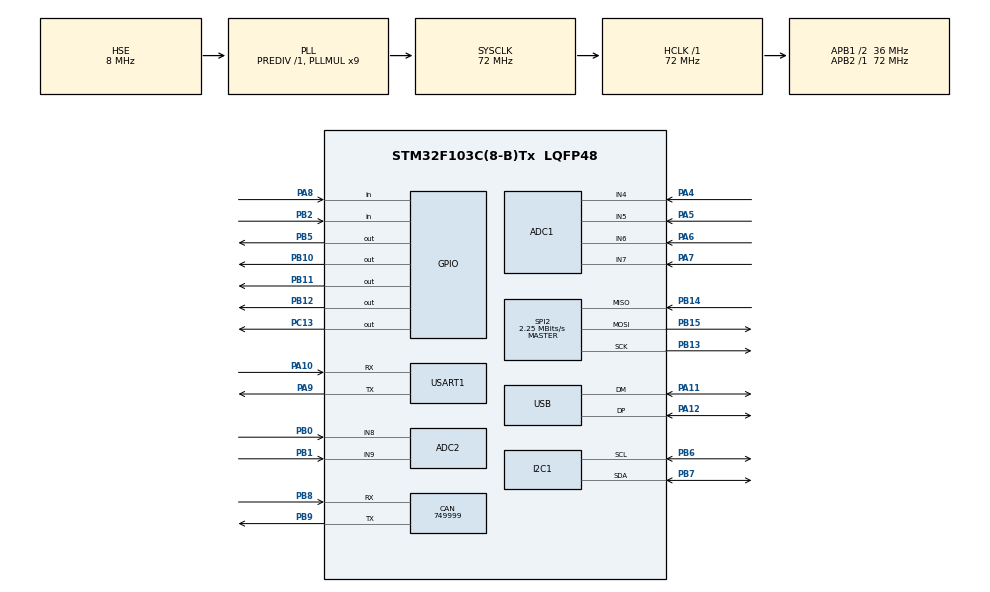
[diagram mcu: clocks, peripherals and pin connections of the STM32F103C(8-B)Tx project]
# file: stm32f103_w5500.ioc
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ADC1.Channel-0\#ChannelRegularConversion=ADC_CHANNEL_4
ADC1.NbrOfConversionFlag=1
ADC1.Rank-0\#ChannelRegularConversion=1
ADC1.SamplingTime-0\#ChannelRegularConversion=ADC_SAMPLETIME_1CYCLE_5
ADC1.master=1
ADC2.Channel-0\#ChannelRegularConversion=ADC_CHANNEL_8
ADC2.NbrOfConversionFlag=1
ADC2.Rank-0\#ChannelRegularConversion=1
ADC2.SamplingTime-0\#ChannelRegularConversion=ADC_SAMPLETIME_1CYCLE_5
CAN.CalculateBaudRate=749999
CAN.CalculateTimeBit=1333
CAN.CalculateTimeQuantum=444.44444444444446
FREERTOS.Tasks01=Task00_1ms,24,128,StartTask00,Default,NULL,Dynamic,NULL,NULL;Task01_10ms,24,128,StartTask01,Default,NULL,Dynamic,NULL,NULL;Task02_100ms,24,128,StartTask02,Default,NULL,Dynamic,NULL,NULL;Task03_1000ms,24,128,StartTask03,Default,NULL,Dynamic,NULL,NULL
FREERTOS.configUSE_NEWLIB_REENTRANT=1
Mcu.Family=STM32F1
Mcu.Name=STM32F103C(8-B)Tx
Mcu.Package=LQFP48
NVIC.PriorityGroup=NVIC_PRIORITYGROUP_4
NVIC.TIM3_IRQn=true\:15\:0\:false\:false\:true\:false\:false\:true\:true
NVIC.TimeBase=TIM3_IRQn
NVIC.TimeBaseIP=TIM3
PA10.Mode=Asynchronous
PA10.Signal=USART1_RX
PA11.Mode=Device
PA11.Signal=USB_DM
PA12.Mode=Device
PA12.Signal=USB_DP
PA13.Mode=Serial_Wire
PA13.Signal=SYS_JTMS-SWDIO
PA14.Mode=Serial_Wire
PA14.Signal=SYS_JTCK-SWCLK
PA4.Signal=ADCx_IN4
PA5.Signal=ADCx_IN5
PA6.Signal=ADCx_IN6
PA7.Signal=ADCx_IN7
PA8.Signal=GPIO_Input
PA9.Mode=Asynchronous
PA9.Signal=USART1_TX
PB0.Signal=ADCx_IN8
PB1.Signal=ADCx_IN9
PB10.PinState=GPIO_PIN_SET
PB10.Signal=GPIO_Output
PB11.PinState=GPIO_PIN_SET
PB11.Signal=GPIO_Output
PB12.PinState=GPIO_PIN_SET
PB12.Signal=GPIO_Output
PB13.Mode=Full_Duplex_Master
PB13.Signal=SPI2_SCK
PB14.Mode=Full_Duplex_Master
PB14.Signal=SPI2_MISO
PB15.Mode=Full_Duplex_Master
PB15.Signal=SPI2_MOSI
PB2.Signal=GPIO_Input
PB5.PinState=GPIO_PIN_SET
PB5.Signal=GPIO_Output
PB6.Mode=I2C
PB6.Signal=I2C1_SCL
PB7.Mode=I2C
PB7.Signal=I2C1_SDA
PB8.Mode=CAN_Activate
PB8.Signal=CAN_RX
PB9.Mode=CAN_Activate
PB9.Signal=CAN_TX
PC13-TAMPER-RTC.PinState=GPIO_PIN_SET
PC13-TAMPER-RTC.Signal=GPIO_Output
PD0-OSC_IN.Mode=HSE-External-Oscillator
PD0-OSC_IN.Signal=RCC_OSC_IN
PD1-OSC_OUT.Mode=HSE-External-Oscillator
PD1-OSC_OUT.Signal=RCC_OSC_OUT
ProjectManager.HeapSize=0x200
ProjectManager.StackSize=0x400
ProjectManager.TargetToolchain=STM32CubeIDE
RCC.ADCPresc=RCC_ADCPCLK2_DIV6
RCC.AHBFreq_Value=72000000
RCC.APB1CLKDivider=RCC_HCLK_DIV2
RCC.APB1Freq_Value=36000000
RCC.APB1TimFreq_Value=72000000
RCC.APB2Freq_Value=72000000
RCC.APB2TimFreq_Value=72000000
RCC.HCLKFreq_Value=72000000
RCC.PLLMUL=RCC_PLL_MUL9
RCC.PLLSourceVirtual=RCC_PLLSOURCE_HSE
RCC.SYSCLKFreq_VALUE=72000000
RCC.SYSCLKSource=RCC_SYSCLKSOURCE_PLLCLK
RCC.USBFreq_Value=48000000
RCC.USBPrescaler=RCC_USBCLKSOURCE_PLL_DIV1_5
SH.ADCx_IN4.0=ADC1_IN4,IN4
SH.ADCx_IN5.0=ADC1_IN5,IN5
SH.ADCx_IN6.0=ADC1_IN6,IN6
SH.ADCx_IN7.0=ADC1_IN7,IN7
SH.ADCx_IN8.0=ADC2_IN8,IN8
SH.ADCx_IN9.0=ADC2_IN9,IN9
SPI2.BaudRatePrescaler=SPI_BAUDRATEPRESCALER_16
SPI2.CalculateBaudRate=2.25 MBits/s
SPI2.Direction=SPI_DIRECTION_2LINES
SPI2.Mode=SPI_MODE_MASTER
SPI2.VirtualType=VM_MASTER
USART1.VirtualMode=VM_ASYNC
VP_FREERTOS_VS_CMSIS_V2.Mode=CMSIS_V2
VP_SYS_VS_tim3.Mode=TIM3
board=custom

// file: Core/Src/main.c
/* USER CODE BEGIN Header */
/**
  ******************************************************************************
  * @file           : main.c
  * @brief          : Main program body
  ******************************************************************************
  * @attention
  *
  * Copyright (c) 2025 STMicroelectronics.
  * All rights reserved.
  *
  * This software is licensed under terms that can be found in the LICENSE file
  * in the root directory of this software component.
  * If no LICENSE file comes with this software, it is provided AS-IS.
  *
  ******************************************************************************
  */
/* USER CODE END Header */
#include "main.h"
#include "cmsis_os.h"
#include "adc.h"
#include "can.h"
#include "i2c.h"
#include "spi.h"
#include "usart.h"
#include "usb.h"
#include "gpio.h"

/* USER CODE BEGIN PV */
uint32_t count=0;

/* USER CODE END PV */

void SystemClock_Config(void);
void MX_FREERTOS_Init(void);

int main(void)
{

  /* USER CODE BEGIN 1 */
  count++; // count = 1
  /* USER CODE END 1 */

  /* MCU Configuration--------------------------------------------------------*/

  /* Reset of all peripherals, Initializes the Flash interface and the Systick. */
  HAL_Init();

  /* USER CODE BEGIN Init */
  count++; // count = 2
  /* USER CODE END Init */

  /* Configure the system clock */
  SystemClock_Config();

  /* USER CODE BEGIN SysInit */
  count++; // count = 3
  /* USER CODE END SysInit */

  /* Initialize all configured peripherals */
  MX_GPIO_Init();
  MX_ADC1_Init();
  MX_ADC2_Init();
  MX_CAN_Init();
  MX_I2C1_Init();
  MX_SPI2_Init();
  MX_USART1_UART_Init();
  MX_USB_PCD_Init();
  /* USER CODE BEGIN 2 */
  count++; // count = 4

  // Initialize Watchdog
  //MX_IWDG_Init();

  /* USER CODE END 2 */

  /* Init scheduler */
  osKernelInitialize();

  /* Call init function for freertos objects (in cmsis_os2.c) */
  MX_FREERTOS_Init();

  /* Start scheduler */
  osKernelStart();

  /* We should never get here as control is now taken by the scheduler */

  /* Infinite loop */
  while (1)
  {

  }
}

void SystemClock_Config(void)
{
  RCC_OscInitTypeDef RCC_OscInitStruct = {0};
  RCC_ClkInitTypeDef RCC_ClkInitStruct = {0};
  RCC_PeriphCLKInitTypeDef PeriphClkInit = {0};

  /** Initializes the RCC Oscillators according to the specified parameters
  * in the RCC_OscInitTypeDef structure.
  */
  RCC_OscInitStruct.OscillatorType = RCC_OSCILLATORTYPE_HSE;
  RCC_OscInitStruct.HSEState = RCC_HSE_ON;
  RCC_OscInitStruct.HSEPredivValue = RCC_HSE_PREDIV_DIV1;
  RCC_OscInitStruct.HSIState = RCC_HSI_ON;
  RCC_OscInitStruct.PLL.PLLState = RCC_PLL_ON;
  RCC_OscInitStruct.PLL.PLLSource = RCC_PLLSOURCE_HSE;
  RCC_OscInitStruct.PLL.PLLMUL = RCC_PLL_MUL9;
  if (HAL_RCC_OscConfig(&RCC_OscInitStruct) != HAL_OK)
  {
    Error_Handler();
  }

  /** Initializes the CPU, AHB and APB buses clocks
  */
  RCC_ClkInitStruct.ClockType = RCC_CLOCKTYPE_HCLK|RCC_CLOCKTYPE_SYSCLK
                              |RCC_CLOCKTYPE_PCLK1|RCC_CLOCKTYPE_PCLK2;
  RCC_ClkInitStruct.SYSCLKSource = RCC_SYSCLKSOURCE_PLLCLK;
  RCC_ClkInitStruct.AHBCLKDivider = RCC_SYSCLK_DIV1;
  RCC_ClkInitStruct.APB1CLKDivider = RCC_HCLK_DIV2;
  RCC_ClkInitStruct.APB2CLKDivider = RCC_HCLK_DIV1;

  if (HAL_RCC_ClockConfig(&RCC_ClkInitStruct, FLASH_LATENCY_2) != HAL_OK)
  {
    Error_Handler();
  }
  PeriphClkInit.PeriphClockSelection = RCC_PERIPHCLK_ADC|RCC_PERIPHCLK_USB;
  PeriphClkInit.AdcClockSelection = RCC_ADCPCLK2_DIV6;
  PeriphClkInit.UsbClockSelection = RCC_USBCLKSOURCE_PLL_DIV1_5;
  if (HAL_RCCEx_PeriphCLKConfig(&PeriphClkInit) != HAL_OK)
  {
    Error_Handler();
  }
}

void HAL_TIM_PeriodElapsedCallback(TIM_HandleTypeDef *htim)
{
  if (htim->Instance == TIM3)
  {
    HAL_IncTick();
  }
}

void Error_Handler(void)
{
  __disable_irq();
  while (1)
  {
  }
}

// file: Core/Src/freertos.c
/* USER CODE BEGIN Header */
/**
  ******************************************************************************
  * File Name          : freertos.c
  * Description        : Code for freertos applications
  ******************************************************************************
  * @attention
  *
  * Copyright (c) 2025 STMicroelectronics.
  * All rights reserved.
  *
  * This software is licensed under terms that can be found in the LICENSE file
  * in the root directory of this software component.
  * If no LICENSE file comes with this software, it is provided AS-IS.
  *
  ******************************************************************************
  */
/* USER CODE END Header */

#include "FreeRTOS.h"
#include "task.h"
#include "main.h"
#include "cmsis_os.h"

/* USER CODE BEGIN Includes */
#include "w5500_spi.h"
#include "hello_world.h"
#include <stdint.h>
#include <stdbool.h>
#include "cmsis_os.h"
/* USER CODE END Includes */

/* USER CODE BEGIN Variables */
uint32_t task00 = 0;
uint32_t task01 = 0;
uint32_t task02 = 0;
uint32_t task03 = 0;
static bool hw_init = false;

/* USER CODE END Variables */
/* Definitions for Task00_1ms */
osThreadId_t Task00_1msHandle;
const osThreadAttr_t Task00_1ms_attributes = {
  .name = "Task00_1ms",
  .stack_size = 128 * 4,
  .priority = (osPriority_t) osPriorityNormal,
};
/* Definitions for Task01_10ms */
osThreadId_t Task01_10msHandle;
const osThreadAttr_t Task01_10ms_attributes = {
  .name = "Task01_10ms",
  .stack_size = 128 * 4,
  .priority = (osPriority_t) osPriorityNormal,
};
/* Definitions for Task02_100ms */
osThreadId_t Task02_100msHandle;
const osThreadAttr_t Task02_100ms_attributes = {
  .name = "Task02_100ms",
  .stack_size = 128 * 4,
  .priority = (osPriority_t) osPriorityNormal,
};
/* Definitions for Task03_1000ms */
osThreadId_t Task03_1000msHandle;
const osThreadAttr_t Task03_1000ms_attributes = {
  .name = "Task03_1000ms",
  .stack_size = 128 * 4,
  .priority = (osPriority_t) osPriorityNormal,
};

void StartTask00(void *argument);
void StartTask01(void *argument);
void StartTask02(void *argument);
void StartTask03(void *argument);

void MX_FREERTOS_Init(void); /* (MISRA C 2004 rule 8.1) */

void MX_FREERTOS_Init(void) {

  /* Create the thread(s) */
  /* creation of Task00_1ms */
  Task00_1msHandle = osThreadNew(StartTask00, NULL, &Task00_1ms_attributes);

  /* creation of Task01_10ms */
  Task01_10msHandle = osThreadNew(StartTask01, NULL, &Task01_10ms_attributes);

  /* creation of Task02_100ms */
  Task02_100msHandle = osThreadNew(StartTask02, NULL, &Task02_100ms_attributes);

  /* creation of Task03_1000ms */
  Task03_1000msHandle = osThreadNew(StartTask03, NULL, &Task03_1000ms_attributes);

}

void StartTask00(void *argument)
{
  /* USER CODE BEGIN StartTask00 */

  /* Infinite loop */
  for(;;)
  {
    if (!hw_init) {
      w5500_spi_init();
      hw_init = true;
    }

    task00++;
    //printf("Task00: %lu\n", (unsigned long)task00);

    osDelay(1);
  }
  /* USER CODE END StartTask00 */
}

void StartTask01(void *argument)
{
  /* USER CODE BEGIN StartTask01 */
  /* Infinite loop */
  for(;;)
  {

	task01++;
	//printf("Task01: %lu\n", (unsigned long)task01);

	osDelay(10);
  }
  /* USER CODE END StartTask01 */
}

void StartTask02(void *argument)
{
  /* USER CODE BEGIN StartTask02 */
  /* Infinite loop */
  for(;;)
  {

	task02++;
    //printf("Task02: %lu\n", (unsigned long)task02);

	HAL_GPIO_TogglePin(GPIOB, GPIO_PIN_10);

	osDelay(100);
  }
  /* USER CODE END StartTask02 */
}

void StartTask03(void *argument)
{
  /* USER CODE BEGIN StartTask03 */
  /* Infinite loop */
  for(;;)
  {

    task03++;
    printf("Task03: %lu\n", (unsigned long)task03);

	HAL_GPIO_TogglePin(GPIOB, GPIO_PIN_11);

	// Send UDP hello world message using centralized configuration
	if (hw_init) {  // Only send if W5500 is initialized
	    int32_t result = hello_world_send_udp();
	    if (result > 0) {
	        printf("Task03: UDP sent(%ld bytes)\n", (long)result);
	    } else {
	        printf("Task03: UDP error %ld\n", (long)result);
	    }
	}

	osDelay(1000);
  }
  /* USER CODE END StartTask03 */
}
